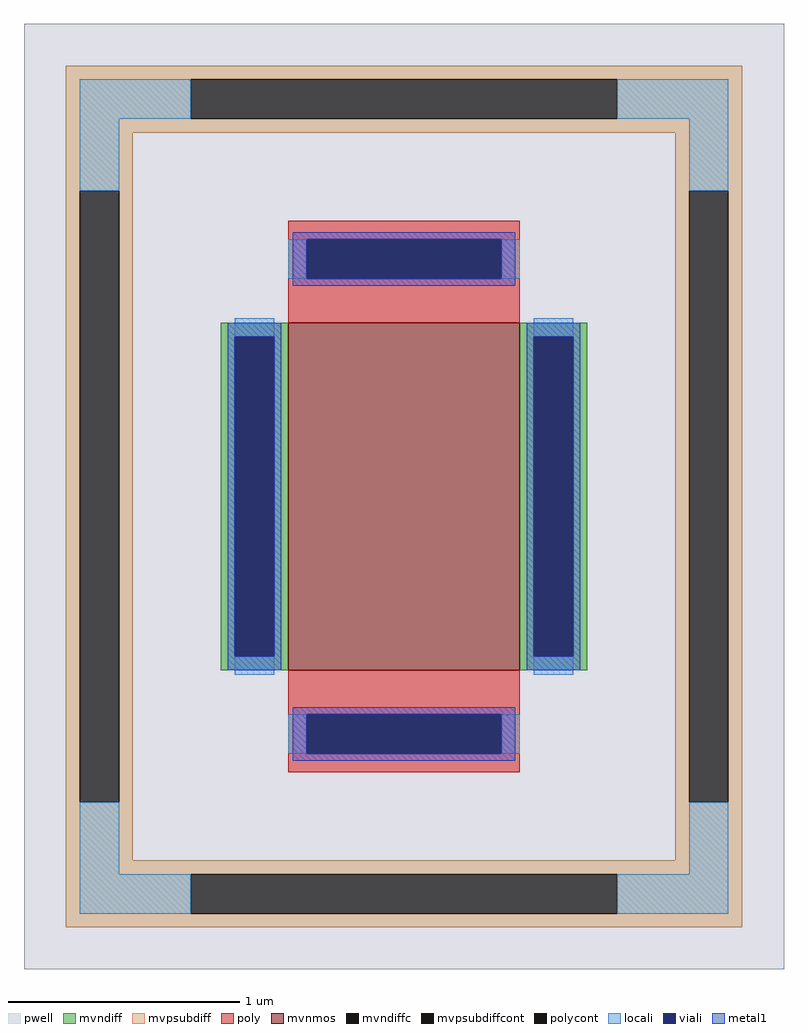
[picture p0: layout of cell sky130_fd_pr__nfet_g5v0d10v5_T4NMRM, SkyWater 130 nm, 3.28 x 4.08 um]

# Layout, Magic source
magic
tech sky130A
<< pwell >>
rect -164 -204 164 204
<< mvnmos >>
rect -50 -75 50 75
<< mvndiff >>
rect -79 69 -50 75
rect -79 -69 -73 69
rect -56 -69 -50 69
rect -79 -75 -50 -69
rect 50 69 79 75
rect 50 -69 56 69
rect 73 -69 79 69
rect 50 -75 79 -69
<< mvndiffc >>
rect -73 -69 -56 69
rect 56 -69 73 69
<< mvpsubdiff >>
rect -146 180 146 186
rect -146 163 -92 180
rect 92 163 146 180
rect -146 157 146 163
rect -146 132 -117 157
rect -146 -132 -140 132
rect -123 -132 -117 132
rect 117 132 146 157
rect -146 -157 -117 -132
rect 117 -132 123 132
rect 140 -132 146 132
rect 117 -157 146 -132
rect -146 -163 146 -157
rect -146 -180 -92 -163
rect 92 -180 146 -163
rect -146 -186 146 -180
<< mvpsubdiffcont >>
rect -92 163 92 180
rect -140 -132 -123 132
rect 123 -132 140 132
rect -92 -180 92 -163
<< poly >>
rect -50 111 50 119
rect -50 94 -42 111
rect 42 94 50 111
rect -50 75 50 94
rect -50 -94 50 -75
rect -50 -111 -42 -94
rect 42 -111 50 -94
rect -50 -119 50 -111
<< polycont >>
rect -42 94 42 111
rect -42 -111 42 -94
<< locali >>
rect -140 163 -92 180
rect 92 163 140 180
rect -140 132 -123 163
rect 123 132 140 163
rect -50 94 -42 111
rect 42 94 50 111
rect -73 69 -56 77
rect -73 -77 -56 -69
rect 56 69 73 77
rect 56 -77 73 -69
rect -50 -111 -42 -94
rect 42 -111 50 -94
rect -140 -163 -123 -132
rect 123 -163 140 -132
rect -140 -180 -92 -163
rect 92 -180 140 -163
<< viali >>
rect -42 94 42 111
rect -73 -69 -56 69
rect 56 -69 73 69
rect -42 -111 42 -94
<< metal1 >>
rect -48 111 48 114
rect -48 94 -42 111
rect 42 94 48 111
rect -48 91 48 94
rect -76 69 -53 75
rect -76 -69 -73 69
rect -56 -69 -53 69
rect -76 -75 -53 -69
rect 53 69 76 75
rect 53 -69 56 69
rect 73 -69 76 69
rect 53 -75 76 -69
rect -48 -94 48 -91
rect -48 -111 -42 -94
rect 42 -111 48 -94
rect -48 -114 48 -111
<< properties >>
string FIXED_BBOX -131 -171 131 171
string gencell sky130_fd_pr__nfet_g5v0d10v5
string library sky130
string parameters w 1.5 l 1 m 1 nf 1 diffcov 100 polycov 100 guard 1 glc 1 grc 1 gtc 1 gbc 1 tbcov 100 rlcov 100 topc 1 botc 1 poverlap 0 doverlap 1 lmin 0.50 wmin 0.42 compatible {sky130_fd_pr__nfet_01v8 sky130_fd_pr__nfet_01v8_lvt  sky130_fd_bs_flash__special_sonosfet_star  sky130_fd_pr__nfet_g5v0d10v5 sky130_fd_pr__nfet_05v0_nvt  sky130_fd_pr__nfet_03v3_nvt} full_metal 1 viasrc 100 viadrn 100 viagate 100 viagb 0 viagr 0 viagl 0 viagt 0
<< end >>
